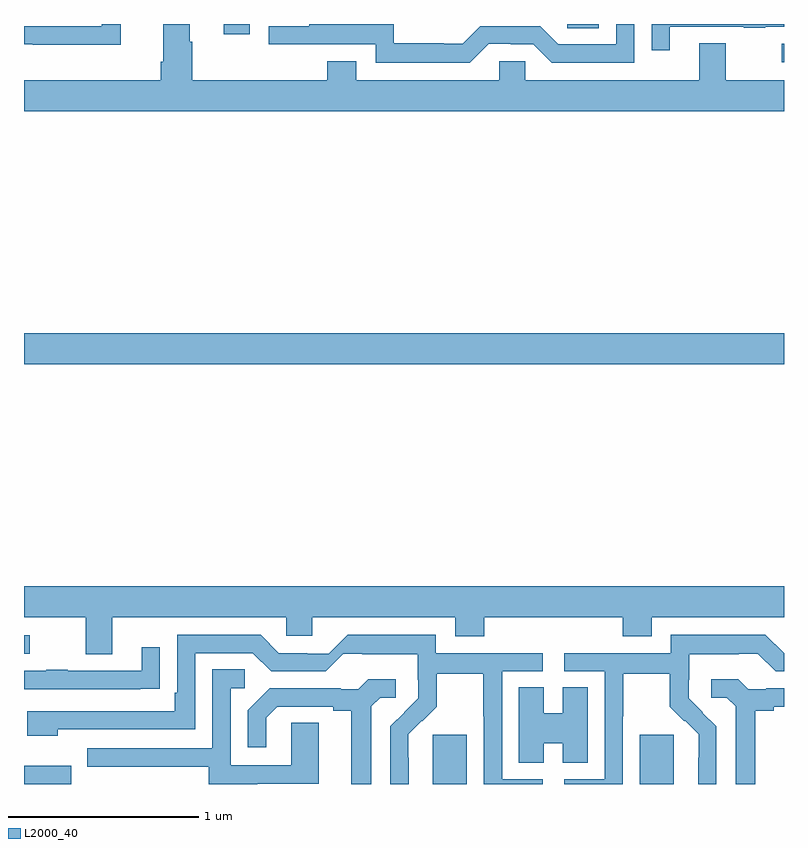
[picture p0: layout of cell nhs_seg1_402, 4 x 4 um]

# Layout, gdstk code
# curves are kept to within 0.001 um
import gdstk
lib = gdstk.Library(unit=1e-6, precision=1e-09)
def R(c, l, rs):  # rectangles x0, y0, x1, y1
    for r in rs: c.add(gdstk.rectangle(r[:2], r[2:], *l))
def P(c, l, *ps):  # polygons
    for p in ps: c.add(gdstk.Polygon(p, *l))
L2000_40 = (2000, 40)

nhs_seg1_402 = lib.new_cell('nhs_seg1_402')
R(nhs_seg1_402, L2000_40, [(133,540.199,133.248,540.295), (135.152,540.199,135.331,540.459), (136.241,540.199,136.42,540.459), (133,540.885,133.03,540.981), (133,542.408,137,542.572), (136.989,543.999,137,544.095), (134.051,544.146,134.187,544.199), (135.858,544.177,136.026,544.199)])
P(nhs_seg1_402, L2000_40, [(135.447,544.095),(135.563,544.095),(135.563,544.092),(135.681,544.092),(135.777,543.996),(136.212,543.996),(136.212,544.199),(136.116,544.199),(136.116,544.092),(135.813,544.092),(135.717,544.188),(135.402,544.188),(135.309,544.095),(135.209,544.095),(135.209,544.099),(134.946,544.099),(134.946,544.199),(134.502,544.199),(134.502,544.188),(134.289,544.188),(134.289,544.092),(134.85,544.092),(134.85,543.995),(135.347,543.995)],
  [(137,543.904),(136.693,543.904),(136.693,544.099),(136.553,544.099),(136.553,543.904),(135.639,543.904),(135.639,544.002),(135.501,544.002),(135.501,543.904),(134.749,543.904),(134.749,544.003),(134.597,544.003),(134.597,543.904),(133.886,543.904),(133.886,544.106),(133.873,544.106),(133.873,544.199),(133.733,544.199),(133.733,544),(133.721,544),(133.721,543.904),(133,543.904),(133,543.74),(137,543.74)],
  [(133.509,544.199),(133.41,544.199),(133.41,544.188),(133,544.188),(133,544.092),(133.045,544.092),(133.045,544.091),(133.509,544.091)],
  [(136.399,544.185),(136.789,544.185),(136.789,544.18),(136.901,544.18),(136.901,544.185),(137,544.185),(137,544.199),(136.303,544.199),(136.303,544.062),(136.399,544.062)],
  [(133.465,541.076),(134.379,541.076),(134.379,540.978),(134.518,540.978),(134.518,541.076),(135.269,541.076),(135.269,540.977),(135.422,540.977),(135.422,541.076),(136.151,541.076),(136.151,540.977),(136.303,540.977),(136.303,541.076),(137,541.076),(137,541.24),(133,541.24),(133,541.076),(133.325,541.076),(133.325,540.882),(133.465,540.882)],
  [(136.152,540.556),(136.155,540.556),(136.155,540.78),(136.399,540.78),(136.399,540.605),(136.476,540.528),(136.479,540.531),(136.55,540.461),(136.55,540.338),(136.548,540.338),(136.548,540.199),(136.644,540.199),(136.644,540.502),(136.498,540.65),(136.498,540.747),(136.5,540.747),(136.5,540.881),(136.763,540.881),(136.763,540.885),(136.863,540.885),(136.956,540.792),(137,540.792),(137,540.886),(136.901,540.985),(136.404,540.985),(136.404,540.888),(135.843,540.888),(135.843,540.792),(136.056,540.792),(136.056,540.225),(135.843,540.225),(135.843,540.199),(136.152,540.199)],
  [(135.024,540.338),(135.023,540.461),(135.093,540.531),(135.096,540.528),(135.173,540.605),(135.173,540.78),(135.418,540.78),(135.418,540.556),(135.42,540.556),(135.42,540.199),(135.73,540.199),(135.73,540.225),(135.516,540.225),(135.516,540.792),(135.73,540.792),(135.73,540.888),(135.168,540.888),(135.168,540.985),(134.703,540.985),(134.603,540.885),(134.491,540.885),(134.491,540.888),(134.341,540.888),(134.245,540.984),(133.806,540.984),(133.806,540.679),(133.793,540.679),(133.793,540.582),(133.017,540.582),(133.017,540.452),(133.178,540.452),(133.178,540.486),(133.902,540.486),(133.902,540.888),(134.205,540.888),(134.301,540.792),(134.588,540.792),(134.681,540.885),(134.781,540.885),(134.781,540.881),(135.072,540.881),(135.072,540.747),(135.074,540.747),(135.074,540.65),(134.928,540.502),(134.928,540.199),(135.024,540.199)],
  [(133.613,540.7),(133.715,540.7),(133.715,540.919),(133.619,540.919),(133.619,540.795),(133.229,540.795),(133.229,540.8),(133.117,540.8),(133.117,540.795),(133,540.795),(133,540.699),(133.613,540.699)],
  [(134.227,540.201),(134.551,540.201),(134.551,540.521),(134.406,540.521),(134.406,540.297),(134.088,540.297),(134.088,540.702),(134.161,540.702),(134.161,540.803),(133.992,540.803),(133.992,540.387),(133.333,540.387),(133.333,540.291),(133.973,540.291),(133.973,540.199),(134.227,540.199)],
  [(136.849,540.584),(136.945,540.584),(136.945,540.606),(137,540.606),(137,540.702),(136.906,540.702),(136.906,540.699),(136.812,540.699),(136.76,540.751),(136.617,540.751),(136.617,540.654),(136.698,540.654),(136.745,540.607),(136.745,540.199),(136.849,540.199)],
  [(134.827,540.607),(134.874,540.654),(134.956,540.654),(134.956,540.751),(134.812,540.751),(134.76,540.699),(134.666,540.699),(134.666,540.702),(134.294,540.702),(134.178,540.586),(134.178,540.393),(134.275,540.393),(134.275,540.549),(134.332,540.606),(134.627,540.606),(134.627,540.584),(134.723,540.584),(134.723,540.199),(134.827,540.199)],
  [(135.736,540.413),(135.836,540.413),(135.836,540.31),(135.967,540.31),(135.967,540.707),(135.836,540.707),(135.836,540.571),(135.736,540.571),(135.736,540.707),(135.605,540.707),(135.605,540.31),(135.736,540.31)])

lib.write_gds('nhs_seg1_402.gds')
